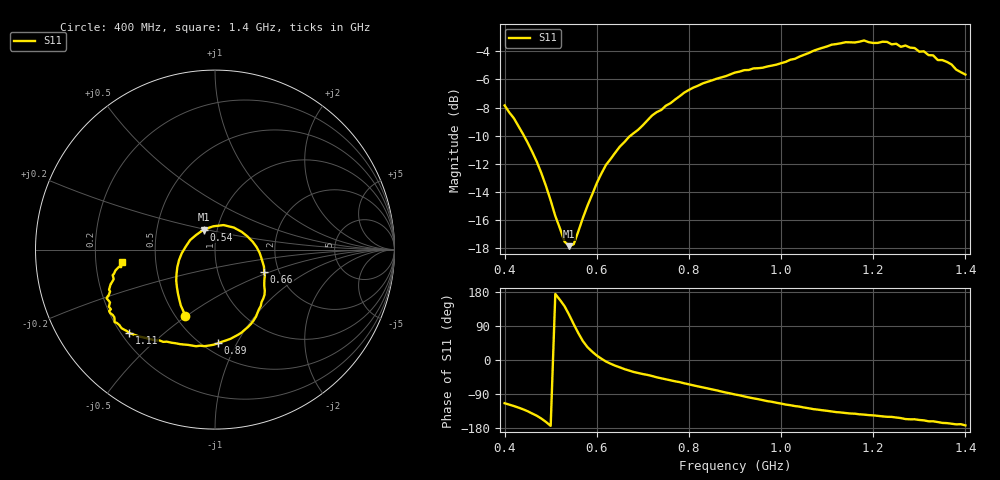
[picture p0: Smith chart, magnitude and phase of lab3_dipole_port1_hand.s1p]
# HZ S RI R 50
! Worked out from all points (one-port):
!   101 points, 400 MHz to 1.4 GHz, reference 50 ohm
!   lowest |S11| = -17.9 dB at 540 MHz (marker M1), VSWR 1.29, Z = 43.1 + j9.77 ohm
!   |S11| at or under -10 dB: 442 MHz to 673 MHz (231.1 MHz wide, 41.4 % of centre)
!   S11 on the Smith chart (normalised r, x): 400 MHz: 0.56, -0.50; 540 MHz: 0.86, +0.20; 660 MHz: 1.68, -0.45; 890 MHz: 0.59, -0.84; 1.11 GHz: 0.23, -0.39; 1.4 GHz: 0.32, -0.06
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4e8  -0.1653 -0.37
4.4e8  -0.2063 -0.2454
4.8e8  -0.2101 -0.099
5e8  -0.185 -0.02
5.3e8  -0.1049 0.0817
5.4e8  -0.0629 0.1115
5.5e8  -0.0101 0.1298
5.6e8  0.0475 0.1366
5.9e8  0.1811 0.0732
6.2e8  0.2484 -0.0176
6.5e8  0.2728 -0.096
6.6e8  0.2743 -0.1222
7.2e8  0.2761 -0.2512
7.8e8  0.229 -0.3723
8.3e8  0.1478 -0.4623
8.9e8  0.0164 -0.5224
9e8  -0.00987 -0.5304
9.4e8  -0.106 -0.5384
1.03e9  -0.3105 -0.506
1.11e9  -0.4784 -0.4642
1.15e9  -0.529 -0.4263
1.23e9  -0.5898 -0.3419
1.24e9  -0.5798 -0.3324
1.28e9  -0.5969 -0.2587
1.29e9  -0.5943 -0.259
1.35e9  -0.57 -0.1423
1.39e9  -0.5231 -0.0979
1.4e9  -0.5175 -0.0679
